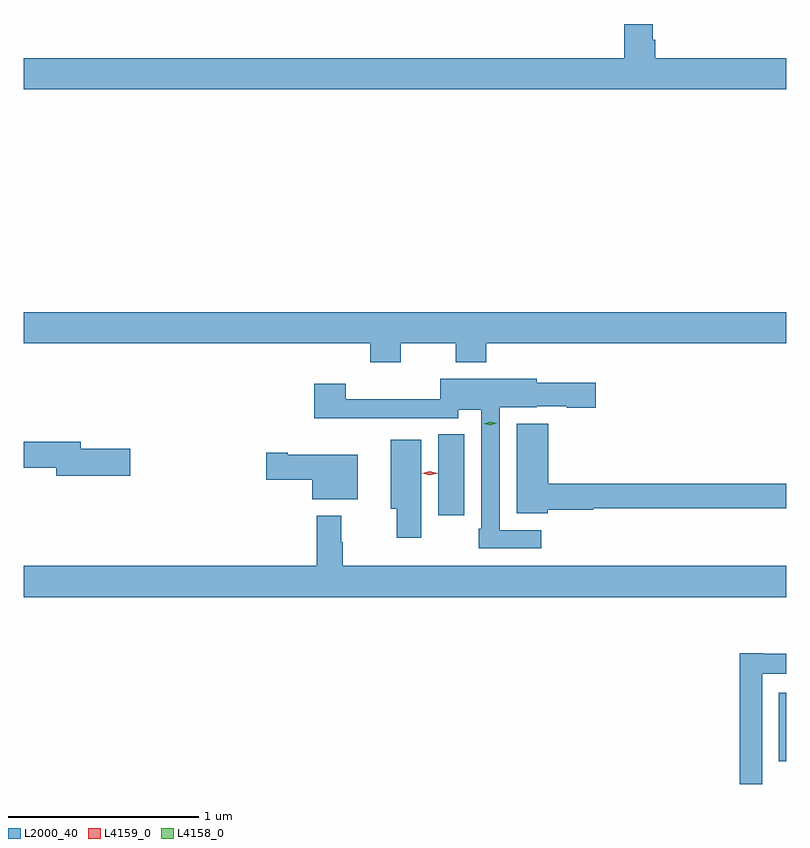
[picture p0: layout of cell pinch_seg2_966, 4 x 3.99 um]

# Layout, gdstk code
import gdstk
lib = gdstk.Library(unit=1e-6, precision=1e-09)
def R(c, l, rs):  # rectangles x0, y0, x1, y1
    for r in rs: c.add(gdstk.rectangle(r[:2], r[2:], *l))
def P(c, l, *ps):  # polygons
    for p in ps: c.add(gdstk.Polygon(p, *l))
L2000_40 = (2000, 40)
L4158_0 = (4158, 0)
L4159_0 = (4159, 0)

pinch_seg2_966 = lib.new_cell('pinch_seg2_966')
R(pinch_seg2_966, L2000_40, [(246.17,641.448,246.208,641.806), (244.382,642.738,244.519,643.163)])
P(pinch_seg2_966, L2000_40, [(246.208,645.136),(245.522,645.136),(245.522,645.232),(245.509,645.232),(245.509,645.315),(245.357,645.315),(245.357,645.136),(242.208,645.136),(242.208,644.972),(246.208,644.972)],
  [(244.185,643.64),(244.474,643.64),(244.474,643.541),(244.634,643.541),(244.634,643.64),(246.208,643.64),(246.208,643.804),(242.208,643.804),(242.208,643.64),(244.025,643.64),(244.025,643.541),(244.185,643.541)],
  [(244.924,642.66),(244.704,642.66),(244.704,643.304),(244.899,643.304),(244.899,643.31),(245.056,643.31),(245.056,643.303),(245.209,643.303),(245.209,643.432),(244.899,643.432),(244.899,643.453),(244.392,643.453),(244.392,643.346),(243.896,643.346),(243.896,643.429),(243.731,643.429),(243.731,643.247),(243.979,643.247),(243.979,643.248),(244.488,643.248),(244.488,643.292),(244.608,643.292),(244.608,642.667),(244.596,642.667),(244.596,642.564),(244.924,642.564)],
  [(244.956,642.766),(245.196,642.766),(245.196,642.774),(246.208,642.774),(246.208,642.902),(245.296,642.902),(245.296,642.903),(244.96,642.903),(244.96,643.219),(244.793,643.219),(244.793,642.749),(244.956,642.749)],
  [(244.294,643.135),(244.133,643.135),(244.133,642.773),(244.165,642.773),(244.165,642.621),(244.294,642.621)],
  [(242.767,643.088),(242.506,643.088),(242.506,643.124),(242.208,643.124),(242.208,642.988),(242.378,642.988),(242.378,642.946),(242.767,642.946)],
  [(243.961,643.054),(243.592,643.054),(243.592,643.067),(243.48,643.067),(243.48,642.925),(243.722,642.925),(243.722,642.821),(243.961,642.821)],
  [(246.208,642.472),(243.881,642.472),(243.881,642.596),(243.874,642.596),(243.874,642.736),(243.745,642.736),(243.745,642.472),(242.208,642.472),(242.208,642.308),(246.208,642.308)],
  [(246.081,641.906),(246.208,641.906),(246.208,642.01),(246.088,642.01),(246.088,642.013),(245.965,642.013),(245.965,641.328),(246.081,641.328)])
P(pinch_seg2_966, L4158_0, [(244.656,643.209),(244.621,643.218),(244.62,643.218),(244.621,643.219),(244.655,643.229),(244.69,643.22),(244.69,643.22),(244.69,643.22)])
P(pinch_seg2_966, L4159_0, [(244.339,642.949),(244.298,642.959),(244.298,642.959),(244.298,642.959),(244.339,642.969),(244.379,642.959),(244.38,642.959),(244.379,642.959)])

lib.write_gds('pinch_seg2_966.gds')
